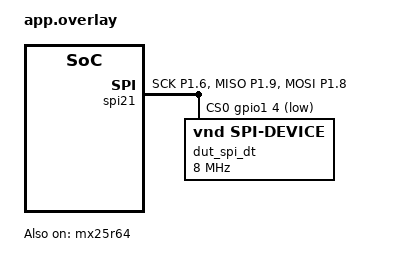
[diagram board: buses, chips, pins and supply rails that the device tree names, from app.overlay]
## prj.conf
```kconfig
CONFIG_CONSOLE=n
CONFIG_PRINTK=n
CONFIG_UART_CONSOLE=n
CONFIG_SERIAL=n
CONFIG_GPIO=n
CONFIG_BOOT_BANNER=n

CONFIG_SPI=y
CONFIG_SPI_ASYNC=n
CONFIG_SPI_NRFX_RAM_BUFFER_SIZE=255

CONFIG_FLASH=y

CONFIG_BT=y
CONFIG_BT_PERIPHERAL=y
CONFIG_BT_DEVICE_NAME="benchmark"
```

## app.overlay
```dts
&spi21 {
	compatible = "nordic,nrf-spim";
	status = "okay";
	pinctrl-0 = <&spi21_default_alt>;
	pinctrl-1 = <&spi21_sleep_alt>;
	pinctrl-names = "default", "sleep";
	overrun-character = <0x00>;
	cs-gpios = <&gpio1 4 GPIO_ACTIVE_LOW>;
	zephyr,pm-device-runtime-auto;
	dut_spi_dt: test-spi-dev@0 {
		compatible = "vnd,spi-device";
		reg = <0>;
		//spi-max-frequency = <0xA2C2Aa>;
		spi-max-frequency = <DT_FREQ_M(8)>;
	};
};
&pinctrl {
	spi21_default_alt: spi21_default_alt {
		group1 {
			psels = <NRF_PSEL(SPIM_SCK, 1, 6)>,
				<NRF_PSEL(SPIM_MISO, 1, 9)>,
				<NRF_PSEL(SPIM_MOSI, 1, 8)>;
		};
	};

	spi21_sleep_alt: spi21_sleep_alt {
		group1 {
			psels = <NRF_PSEL(SPIM_SCK, 1, 6)>,
				<NRF_PSEL(SPIM_MISO, 1, 9)>,
				<NRF_PSEL(SPIM_MOSI, 1, 8)>;
			low-power-enable;
		};
	};
};
&mx25r64 {
	status = "okay";
};
```

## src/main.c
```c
#include <zephyr/kernel.h>
#include <zephyr/device.h>
#include <string.h>
#include <zephyr/bluetooth/bluetooth.h>
#include <zephyr/drivers/flash.h>
#include <zephyr/drivers/spi.h>

/*
 * *** User input ***
 */
#define START_ADVERTISING 1
#define ADVERTISING_INTERVAL 1600 // in 625 ms steps

#define SPI_READ_INTERVAL 100
#define FLASH_WRITE_INTERVAL 10 //in number of SPI transactions
#define SPI_BUFFER_SIZE 35
#define FLASH_BUFFER_SIZE SPI_BUFFER_SIZE*FLASH_WRITE_INTERVAL

/*
 * *** SPI settings ***
 */
#define SPI_MODE (SPI_WORD_SET(8) | SPI_LINES_SINGLE | SPI_TRANSFER_LSB)
#define SPIM_OP	 (SPI_OP_MODE_MASTER | SPI_MODE)

struct spi_dt_spec spim = SPI_DT_SPEC_GET(DT_NODELABEL(dut_spi_dt), SPIM_OP, 0);

static uint8_t tx_buffer[SPI_BUFFER_SIZE];
static struct spi_buf tx_buf  = {
	.buf = tx_buffer,
	.len = SPI_BUFFER_SIZE,
};
static struct spi_buf_set tx_buffer_set  = {
	.buffers = &tx_buf,
	.count = 1,
};

/*
 * *** BT settings ***
 */
#define DEVICE_NAME             CONFIG_BT_DEVICE_NAME
#define DEVICE_NAME_LEN         (sizeof(DEVICE_NAME) - 1)

static const struct bt_data ad[] = {
	BT_DATA_BYTES(BT_DATA_FLAGS, (BT_LE_AD_GENERAL | BT_LE_AD_NO_BREDR)),
	BT_DATA(BT_DATA_NAME_COMPLETE, DEVICE_NAME, DEVICE_NAME_LEN),
};

/*
 * *** External flash settings ***
 *
 * Dummy data stored in flash_data[] is written to flash, 
 * to show the current consumption assiciated with different payloads.
 * This can be changed to include SPI accumulated/processed data instead.
 */
const struct device *flash_dev = DEVICE_DT_GET_ONE(jedec_spi_nor);
#define SPI_FLASH_TEST_REGION_OFFSET 0xFF000
static uint8_t flash_data[FLASH_BUFFER_SIZE];
static void write_ext_flash(struct k_work *work){
	if (!device_is_ready(flash_dev)) {
		printk("%s: device not ready.\n", flash_dev->name);
		return;
	}
	int rc = flash_write(flash_dev, SPI_FLASH_TEST_REGION_OFFSET, flash_data, FLASH_BUFFER_SIZE);
	if (rc != 0) {
		printf("Flash write failed! %d\n", rc);
	}
}
K_WORK_DEFINE(thread_ext_flash_id, write_ext_flash);

/*
 * *** SPI read and flash write thread ***
 */
static void spi_tranceive_task(void *arg1, void *arg2, void *arg3) {
	ARG_UNUSED(arg1);
	ARG_UNUSED(arg2);
	ARG_UNUSED(arg3);

	int spi_read_counter = 0;
	while (1) {
		spi_read_dt(&spim, &tx_buffer_set);//, &rx_buffer_set);
		tx_buffer[0] = spi_read_counter;
		if(spi_read_counter%10 == 9){
			k_work_submit(&thread_ext_flash_id);
		}
		spi_read_counter++;
		k_msleep(SPI_READ_INTERVAL);
	}
}
K_THREAD_DEFINE(thread_spi_read, 1024, spi_tranceive_task, NULL, NULL, NULL,
		K_PRIO_COOP(1), 0, -1);

int main(void)
{
	//initialize external flash
	int ret;
	if (!device_is_ready(flash_dev)) {
		printk("%s: device not ready.\n", flash_dev->name);
		return 0;
	}

	//initialize BT
	bt_enable(NULL);
#if START_ADVERTISING
	ret = bt_le_adv_start(
			BT_LE_ADV_PARAM(BT_LE_ADV_OPT_CONN, ADVERTISING_INTERVAL, ADVERTISING_INTERVAL, NULL),
			ad, ARRAY_SIZE(ad), NULL, 0);
#endif

        // start SPI read thread
	k_thread_start(thread_spi_read);
	return 0;
}
```
